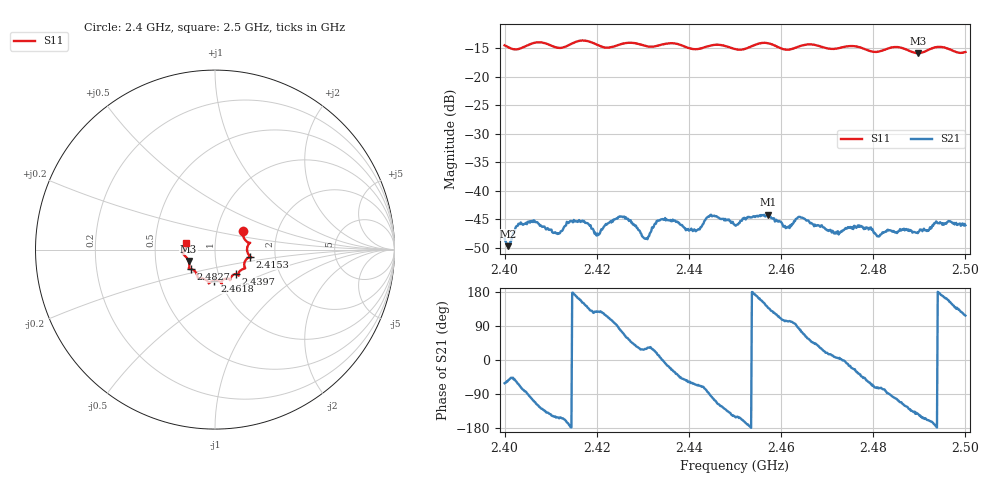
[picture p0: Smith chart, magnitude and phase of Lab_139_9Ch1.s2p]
# Hz S RI R 50
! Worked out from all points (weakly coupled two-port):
!   601 points, 2.4 GHz to 2.5 GHz, reference 50 ohm
!   highest |S21| = -44.20 dB at 2.4572 GHz (marker M1); lowest = -49.7 dB at 2.4008 GHz (marker M2)
!   lowest |S11| = -15.9 dB at 2.4897 GHz (marker M3), VSWR 1.38, Z = 36.9 - j4.83 ohm
!   |S11| at or under -10 dB: start of sweep to end of sweep
!   S12 and S22 are empty: the file has one direction only
!   S11 on the Smith chart (normalised r, x): 2.4 GHz: 1.33, +0.29; 2.4153 GHz: 1.48, -0.12; 2.4397 GHz: 1.21, -0.34; 2.4618 GHz: 0.94, -0.33; 2.4827 GHz: 0.75, -0.17; 2.5 GHz: 0.72, +0.06
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2.4e9  0.1548 0.1063  0.00184 -0.00334  0 0  0 0
2.400833e9  0.1545 0.0933  0.00199 -0.0026  0 0  0 0
2.403333e9  0.167 0.0548  0.00185 -0.00476  0 0  0 0
2.4115e9  0.1786 0.00715  -0.00367 -0.00201  0 0  0 0
2.415333e9  0.1966 -0.0393  -0.00538 0.000848  0 0  0 0
2.416667e9  0.2024 -0.0432  -0.00491 0.00229  0 0  0 0
2.420167e9  0.1833 -0.0467  -0.00256 0.00337  0 0  0 0
2.4255e9  0.1661 -0.0996  0.00166 0.00569  0 0  0 0
2.4305e9  0.1478 -0.1124  0.00332 0.00187  0 0  0 0
2.433333e9  0.1303 -0.1343  0.00537 0.00122  0 0  0 0
2.439667e9  0.1168 -0.1363  0.00268 -0.00371  0 0  0 0
2.445e9  0.0834 -0.1687  -0.000799 -0.00592  0 0  0 0
2.45e9  0.065 -0.1618  -0.0043 -0.00253  0 0  0 0
2.457167e9  0.0392 -0.1922  -0.00457 0.00414  0 0  0 0
2.461833e9  -0.0034 -0.1727  -0.00105 0.0046  0 0  0 0
2.464e9  -0.0279 -0.1823  0.000984 0.00583  0 0  0 0
2.466667e9  -0.0347 -0.188  0.00353 0.0038  0 0  0 0
2.472e9  -0.0703 -0.1612  0.00435 0.00045  0 0  0 0
2.482667e9  -0.1348 -0.1086  0.000638 -0.00435  0 0  0 0
2.483333e9  -0.14 -0.1082  6.46e-05 -0.00449  0 0  0 0
2.489667e9  -0.1473 -0.0637  -0.00333 -0.00264  0 0  0 0
2.5e9  -0.1596 0.0388  -0.00228 0.00444  0 0  0 0
